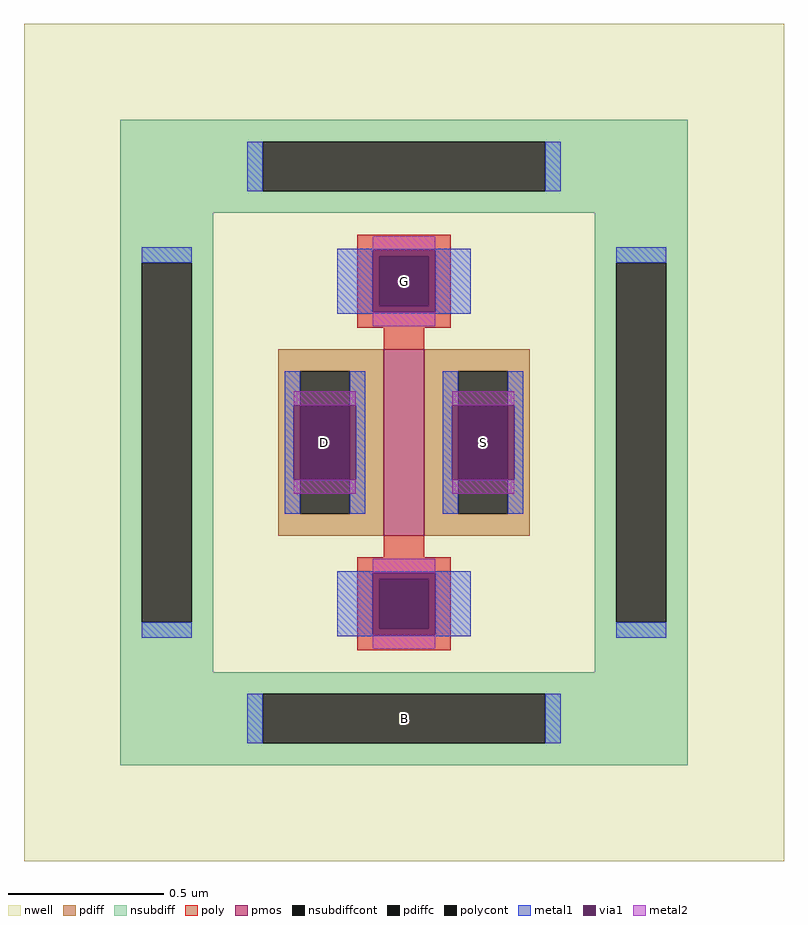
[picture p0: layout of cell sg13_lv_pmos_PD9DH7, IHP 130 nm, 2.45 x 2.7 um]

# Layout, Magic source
magic
tech ihp-sg13g2
magscale 1 2
<< nwell >>
rect -245 -270 245 270
<< pmos >>
rect -13 -60 13 60
<< pdiff >>
rect -81 46 -13 60
rect -81 -46 -67 46
rect -35 -46 -13 46
rect -81 -60 -13 -46
rect 13 46 81 60
rect 13 -46 35 46
rect 67 -46 81 46
rect 13 -60 81 -46
<< pdiffc >>
rect -67 -46 -35 46
rect 35 -46 67 46
<< nsubdiff >>
rect -183 194 183 208
rect -183 162 -91 194
rect 91 162 183 194
rect -183 148 183 162
rect -183 116 -123 148
rect -183 -116 -169 116
rect -137 -116 -123 116
rect 123 116 183 148
rect -183 -148 -123 -116
rect 123 -116 137 116
rect 169 -116 183 116
rect 123 -148 183 -116
rect -183 -162 183 -148
rect -183 -194 -91 -162
rect 91 -194 183 -162
rect -183 -208 183 -194
<< nsubdiffcont >>
rect -91 162 91 194
rect -169 -116 -137 116
rect 137 -116 169 116
rect -91 -194 91 -162
<< poly >>
rect -30 120 30 134
rect -30 88 -16 120
rect 16 88 30 120
rect -30 74 30 88
rect -13 60 13 74
rect -13 -74 13 -60
rect -30 -88 30 -74
rect -30 -120 -16 -88
rect 16 -120 30 -88
rect -30 -134 30 -120
<< polycont >>
rect -16 88 16 120
rect -16 -120 16 -88
<< metal1 >>
rect -101 162 -91 194
rect 91 162 101 194
rect -169 116 -137 126
rect -43 124 43 125
rect -43 84 -20 124
rect 20 84 43 124
rect -43 83 43 84
rect 137 116 169 126
rect -77 24 -67 46
rect -35 24 -25 46
rect -77 -24 -71 24
rect -31 -24 -25 24
rect -77 -46 -67 -24
rect -35 -46 -25 -24
rect 25 24 35 46
rect 67 24 77 46
rect 25 -24 31 24
rect 71 -24 77 24
rect 25 -46 35 -24
rect 67 -46 77 -24
rect -169 -126 -137 -116
rect -43 -84 43 -83
rect -43 -124 -20 -84
rect 20 -124 43 -84
rect -43 -125 43 -124
rect 137 -126 169 -116
rect -101 -194 -91 -162
rect 91 -194 101 -162
<< via1 >>
rect -20 120 20 124
rect -20 88 -16 120
rect -16 88 16 120
rect 16 88 20 120
rect -20 84 20 88
rect -71 -24 -67 24
rect -67 -24 -35 24
rect -35 -24 -31 24
rect 31 -24 35 24
rect 35 -24 67 24
rect 67 -24 71 24
rect -20 -88 20 -84
rect -20 -120 -16 -88
rect -16 -120 16 -88
rect 16 -120 20 -88
rect -20 -124 20 -120
<< metal2 >>
rect -20 124 20 133
rect -20 75 20 84
rect -71 24 -31 33
rect -71 -33 -31 -24
rect 31 24 71 33
rect 31 -33 71 -24
rect -20 -84 20 -75
rect -20 -133 20 -124
<< labels >>
rlabel nsubdiffcont 0 -178 0 -178 0 B
port 1 nsew
rlabel pdiffc -51 0 -51 0 0 D
port 2 nsew
rlabel pdiffc 51 0 51 0 0 S
port 3 nsew
rlabel polycont 0 104 0 104 0 G
port 4 nsew
<< properties >>
string FIXED_BBOX -153 -178 153 178
string gencell sg13_lv_pmos
string library sg13g2
string parameters w 0.6 l 0.13 m 1 nf 1 diffcov 100 polycov 100 guard 1 glc 1 grc 1 gtc 1 gbc 1 tbcov 100 rlcov 100 topc 1 botc 1 poverlap 0 doverlap 1 lmin 0.13 wmin 0.15 class mosfet compatible {sg13_lv_pmos sg13_hv_pmos} full_metal 0 conn_gates 0 gate_ring 0 ccols 1 viasrc 100 viadrn 100 viagate 100 viagb 0 viagr 0 viagl 0 viagt 0 doports 1
<< end >>
